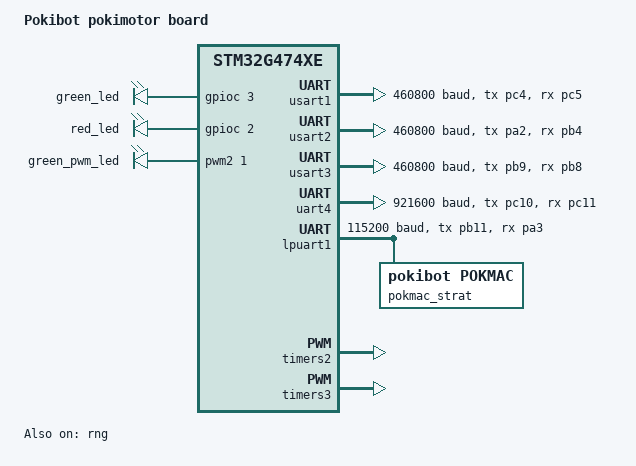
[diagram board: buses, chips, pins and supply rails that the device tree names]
/*
 * Copyright (c) 2019 STMicroelectronics.
 *
 * SPDX-License-Identifier: Apache-2.0
 */

/dts-v1/;
#include <st/g4/stm32g474Xe.dtsi>
#include <st/g4/stm32g474r(b-c-e)tx-pinctrl.dtsi>
#include <zephyr/dt-bindings/input/input-event-codes.h>

/ {
	model = "Pokibot pokimotor board";
	compatible = "pokibot,pokimotor";

	chosen {
		zephyr,console = &uart4;
		zephyr,shell-uart = &uart4;
		zephyr,sram = &sram0;
		zephyr,flash = &flash0;
		zephyr,code-partition = &slot0_partition;
	};

	leds: leds {
		compatible = "gpio-leds";
		green_led: led_0 {
			gpios = <&gpioc 3 GPIO_ACTIVE_HIGH>;
		};
		red_led: led_1 {
			gpios = <&gpioc 2 GPIO_ACTIVE_HIGH>;
		};
	};

	pwmleds {
		compatible = "pwm-leds";

		green_pwm_led: green_pwm_led {
			pwms = <&pwm2 1 PWM_MSEC(20) PWM_POLARITY_NORMAL>;
		};
	};

	aliases {
		led0 = &green_led;
		led1 = &red_led;
		mcuboot-led0 = &green_led;
	};
};

&clk_lsi {
	status = "okay";
};

&clk_hsi {
	status = "okay";
};

&clk_hsi48 {
	status = "okay";
};

&pll {
	div-m = <4>;
	mul-n = <85>;
	div-p = <2>;
	div-q = <2>;
	div-r = <2>;
	clocks = <&clk_hsi>;
	status = "okay";
};

&rcc {
	clocks = <&pll>;
	clock-frequency = <DT_FREQ_M(170)>;
	ahb-prescaler = <1>;
	apb1-prescaler = <1>;
	apb2-prescaler = <1>;
};

&usart1 {
    dmas = <&dmamux1 8 25 (STM32_DMA_PERIPH_TX | STM32_DMA_PRIORITY_HIGH)>,
		<&dmamux1 0 24 (STM32_DMA_PERIPH_RX | STM32_DMA_PRIORITY_HIGH)>;
	dma-names = "tx", "rx";
	pinctrl-0 = <&usart1_tx_pc4 &usart1_rx_pc5>;
	pinctrl-names = "default";
	current-speed = <460800>;
	status = "okay";

	uart_bus:uart_bus {
		compatible = "zephyr,uart-bus";
		status = "okay";

		stepper0:stepper0 {
			compatible = "adi,tmc2209-pokibot";
			status = "okay";
			address = <0>;
			micro-step-res = <256>;
			ihold = <5>;
			irun = <31>;
			iholddelay = <10>;
			reverse-shaft;
		};

		stepper1:stepper1 {
			compatible = "adi,tmc2209-pokibot";
			status = "okay";
			address = <1>;

			/* common stepper controller settings */
			micro-step-res = <256>;
			/* tmc specific */
			ihold = <5>;
			irun = <31>;
			iholddelay = <10>;
			reverse-shaft;
		};
		stepper2:stepper2 {
			compatible = "adi,tmc2209-pokibot";
			status = "okay";
			address = <2>;

			/* common stepper controller settings */
			micro-step-res = <256>;
			/* tmc specific */
			ihold = <5>;
			irun = <31>;
			iholddelay = <10>;
			reverse-shaft;
		};
	};
};

&usart2 {
	pinctrl-0 = <&usart2_tx_pa2 &usart2_rx_pb4>;
	pinctrl-names = "default";
	current-speed = <460800>;
	// status = "okay";
};

&usart3 {
	pinctrl-0 = <&usart3_tx_pb9 &usart3_rx_pb8>;
	pinctrl-names = "default";
	current-speed = <460800>;
	// status = "okay";
};

&uart4 {
	pinctrl-0 = <&uart4_tx_pc10 &uart4_rx_pc11>;
	pinctrl-names = "default";
	current-speed = <921600>;
	status = "okay";
};

&lpuart1 {
	pinctrl-0 = <&lpuart1_tx_pb11 &lpuart1_rx_pa3>;
	pinctrl-names = "default";
	current-speed = <115200>;
	status = "okay";
    pokmac_strat: pokmac_strat {
		compatible = "pokibot,pokmac";
		status = "okay";
	};
};



&timers2 {
	status = "okay";

	pwm2: pwm {
		status = "okay";
		pinctrl-0 = <&tim2_ch1_pa5>;
		pinctrl-names = "default";
	};
};

&timers3 {
	st,prescaler = <10000>;
	status = "okay";
	pwm3: pwm {
		status = "okay";
		pinctrl-0 = <&tim3_ch1_pb4>;
		pinctrl-names = "default";
	};
};

&flash0 {
	partitions {
		compatible = "fixed-partitions";
		#address-cells = <1>;
		#size-cells = <1>;

		boot_partition: partition@0 {
			label = "mcuboot";
			reg = <0x00000000 DT_SIZE_K(34)>;
		};
		slot0_partition: partition@8800 {
			label = "image-0";
			reg = <0x00008800 DT_SIZE_K(240)>;
		};
		slot1_partition: partition@44800 {
			label = "image-1";
			reg = <0x00044800 DT_SIZE_K(234)>;
		};
		/* Set 4Kb of storage at the end of the 512Kb of flash */
		storage_partition: partition@7f000 {
			label = "storage";
			reg = <0x0007f000 DT_SIZE_K(4)>;
		};
	};
};

&rng {
	status = "okay";
};

&dma1 {
    status = "okay";
};

&dma2 {
    status = "okay";
};

&dmamux1 {
    status = "okay";
};
